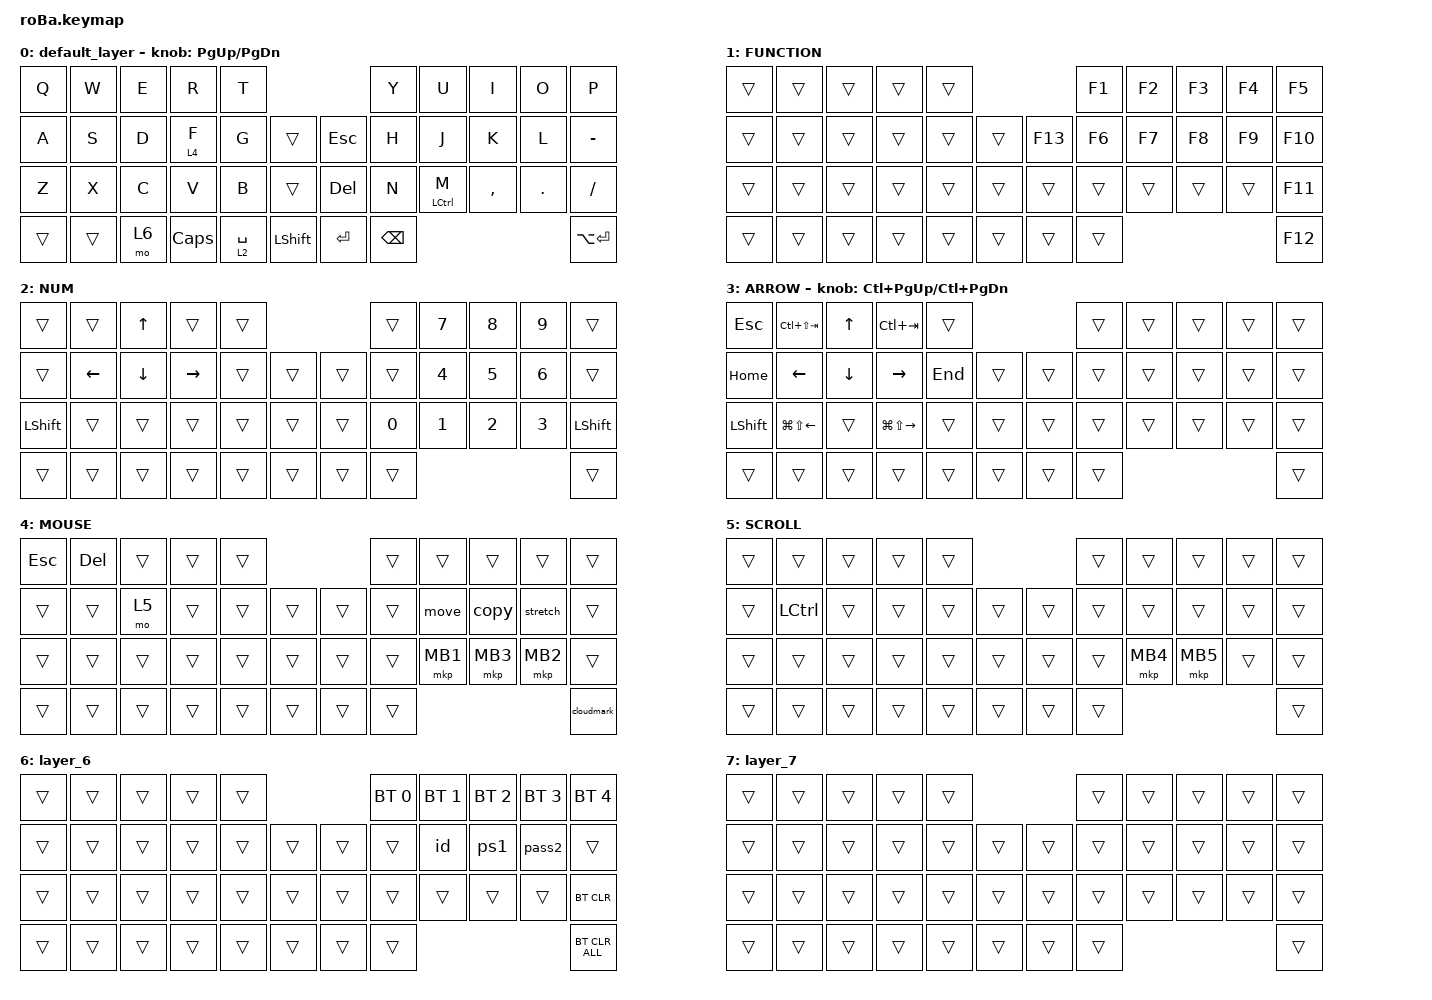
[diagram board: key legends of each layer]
#include <behaviors.dtsi>
#include <dt-bindings/zmk/bt.h>
#include <dt-bindings/zmk/keys.h>
#include <dt-bindings/zmk/pointing.h>

&mt {
    flavor = "balanced";
    quick-tap-ms = <0>;
};

/ {
    combos {
        compatible = "zmk,combos";

        tab {
            bindings = <&kp TAB>;
            key-positions = <11 12>;
        };

        shift_tab {
            bindings = <&kp LS(TAB)>;
            key-positions = <12 13>;
        };

        muhennkann {
            bindings = <&to_layer_0 INT_MUHENKAN>;
            key-positions = <11 10>;
        };

        double_quotation {
            bindings = <&kp DOUBLE_QUOTES>;
            key-positions = <20 21>;
        };

        eq {
            bindings = <&kp EQUAL>;
            key-positions = <24 25>;
        };
    };

    macros {
        to_layer_0: to_layer_0 {
            compatible = "zmk,behavior-macro-one-param";
            #binding-cells = <1>;
            bindings = <&to 0 &macro_param_1to1 &kp MACRO_PLACEHOLDER>;
            label = "TO_LAYER_0";
        };

        ps1: ps1 {
            compatible = "zmk,behavior-macro";
            #binding-cells = <0>;
            bindings = <&kp LS(J) &kp N1 &kp L &kp N3 &kp K &kp N2 &kp L &kp N3 &kp LS(J) &kp N1>;
            label = "PS1";
        };

        pass2: pass2 {
            compatible = "zmk,behavior-macro";
            #binding-cells = <0>;
            bindings = <&kp LS(T) &kp A &kp K &kp U &kp LS(T) &kp A &kp K &kp U &kp N1 &kp N2 &kp N2 &kp N0>;
            label = "PASS2";
        };

        id: id {
            compatible = "zmk,behavior-macro";
            #binding-cells = <0>;
            bindings = <&kp N2 &kp N6 &kp N2 &kp N3 &kp N0 &kp N5 &kp N8>;
            label = "ID";
        };

        move: move {
            compatible = "zmk,behavior-macro";
            #binding-cells = <0>;
            bindings = <&kp M &kp O &kp V &kp E &kp RET>;
            label = "MOVE";
        };

        copy: copy {
            compatible = "zmk,behavior-macro";
            #binding-cells = <0>;
            bindings = <&kp C &kp O &kp P &kp Y &kp RET>;
            label = "COPY";
        };

        stretch: stretch {
            compatible = "zmk,behavior-macro";
            #binding-cells = <0>;
            bindings = <&kp S &kp RET>;
            label = "STRETCH";
        };

        cloudmark: cloudmark {
            compatible = "zmk,behavior-macro";
            #binding-cells = <0>;
            bindings = <&kp R &kp E &kp V &kp C &kp L &kp O &kp U &kp D &kp RET &kp E &kp RET>;
            label = "CLOUDMARK";
        };
    };

    behaviors {
        lt_to_layer_0: lt_to_layer_0 {
            compatible = "zmk,behavior-hold-tap";
            label = "LAYER_TAP_TO_0";
            bindings = <&mo>, <&to_layer_0>;

            #binding-cells = <2>;
            tapping-term-ms = <200>;
        };
    };

    keymap {
        compatible = "zmk,keymap";

        default_layer {
            bindings = <
&kp Q   &kp W   &kp E  &kp R               &kp T                                        &kp Y          &kp U        &kp I      &kp O    &kp P
&kp A   &kp S   &kp D  &lt_to_layer_0 4 F  &kp G        &trans              &kp ESCAPE  &kp H          &kp J        &kp K      &kp L    &kp MINUS
&kp Z   &kp X   &kp C  &kp V               &kp B        &trans              &kp DELETE  &kp N          &mt LCTRL M  &kp COMMA  &kp DOT  &kp SLASH
&trans  &trans  &mo 6  &kp CAPSLOCK        &lt 2 SPACE  &kp LEFT_SHIFT      &kp ENTER   &kp BACKSPACE                                   &kp LA(ENTER)
            >;

            sensor-bindings = <&inc_dec_kp PG_UP PAGE_DOWN>;
        };

        FUNCTION {
            bindings = <
&trans  &trans  &trans  &trans  &trans                       &kp F1  &kp F2  &kp F3  &kp F4  &kp F5
&trans  &trans  &trans  &trans  &trans  &trans      &kp F13  &kp F6  &kp F7  &kp F8  &kp F9  &kp F10
&trans  &trans  &trans  &trans  &trans  &trans      &trans   &trans  &trans  &trans  &trans  &kp F11
&trans  &trans  &trans  &trans  &trans  &trans      &trans   &trans                          &kp F12
            >;
        };

        NUM {
            bindings = <
&trans          &trans          &kp UP_ARROW    &trans           &trans                      &trans  &kp N7        &kp N8        &kp N9        &trans
&trans          &kp LEFT_ARROW  &kp DOWN_ARROW  &kp RIGHT_ARROW  &trans  &trans      &trans  &trans  &kp NUMBER_4  &kp N5        &kp NUMBER_6  &trans
&kp LEFT_SHIFT  &trans          &trans          &trans           &trans  &trans      &trans  &kp N0  &kp N1        &kp NUMBER_2  &kp NUMBER_3  &kp LEFT_SHIFT
&trans          &trans          &trans          &trans           &trans  &trans      &trans  &trans                                            &trans
            >;
        };

        ARROW {
            bindings = <
&kp ESCAPE      &kp LC(LS(TAB))         &kp UP_ARROW    &kp LC(TAB)              &trans                       &trans  &trans  &trans  &trans  &trans
&kp HOME        &kp LEFT_ARROW          &kp DOWN_ARROW  &kp RIGHT_ARROW          &kp END  &trans      &trans  &trans  &trans  &trans  &trans  &trans
&kp LEFT_SHIFT  &kp LG(LS(LEFT_ARROW))  &trans          &kp LG(LS(RIGHT_ARROW))  &trans   &trans      &trans  &trans  &trans  &trans  &trans  &trans
&trans          &trans                  &trans          &trans                   &trans   &trans      &trans  &trans                          &trans
            >;

            sensor-bindings = <&inc_dec_kp LC(PAGE_UP) LC(PAGE_DOWN)>;
        };

        MOUSE {
            bindings = <
&kp ESCAPE  &kp DELETE  &trans  &trans  &trans                      &trans  &trans    &trans    &trans    &trans
&trans      &trans      &mo 5   &trans  &trans  &trans      &trans  &trans  &move     &copy     &stretch  &trans
&trans      &trans      &trans  &trans  &trans  &trans      &trans  &trans  &mkp MB1  &mkp MB3  &mkp MB2  &trans
&trans      &trans      &trans  &trans  &trans  &trans      &trans  &trans                                &cloudmark
            >;
        };

        SCROLL {
            bindings = <
&trans  &trans     &trans  &trans  &trans                      &trans  &trans    &trans    &trans  &trans
&trans  &kp LCTRL  &trans  &trans  &trans  &trans      &trans  &trans  &trans    &trans    &trans  &trans
&trans  &trans     &trans  &trans  &trans  &trans      &trans  &trans  &mkp MB4  &mkp MB5  &trans  &trans
&trans  &trans     &trans  &trans  &trans  &trans      &trans  &trans                              &trans
            >;
        };

        layer_6 {
            bindings = <
&trans  &trans  &trans  &trans  &trans                      &bt BT_SEL 0  &bt BT_SEL 1  &bt BT_SEL 2  &bt BT_SEL 3  &bt BT_SEL 4
&trans  &trans  &trans  &trans  &trans  &trans      &trans  &trans        &id           &ps1          &pass2        &trans
&trans  &trans  &trans  &trans  &trans  &trans      &trans  &trans        &trans        &trans        &trans        &bt BT_CLR
&trans  &trans  &trans  &trans  &trans  &trans      &trans  &trans                                                  &bt BT_CLR_ALL
            >;
        };

        layer_7 {
            bindings = <
&trans  &trans  &trans  &trans  &trans                      &trans  &trans  &trans  &trans  &trans
&trans  &trans  &trans  &trans  &trans  &trans      &trans  &trans  &trans  &trans  &trans  &trans
&trans  &trans  &trans  &trans  &trans  &trans      &trans  &trans  &trans  &trans  &trans  &trans
&trans  &trans  &trans  &trans  &trans  &trans      &trans  &trans                          &trans
            >;
        };
    };
};
